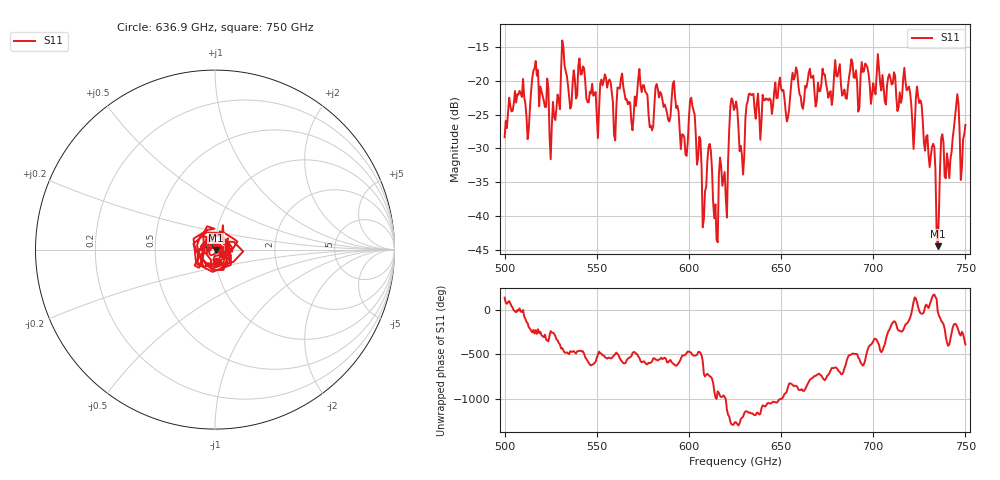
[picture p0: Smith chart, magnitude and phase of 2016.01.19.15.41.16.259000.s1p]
!Created with skrf (http://scikit-rf.org).
# GHz S RI R 50.0
!freq ReS11 ImS11
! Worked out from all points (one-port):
!   401 points, 500 GHz to 750 GHz, reference 50 ohm
!   lowest |S11| = -44.5 dB at 735 GHz (marker M1), VSWR 1.01, Z = 50.6 - j0.173 ohm
!   |S11| at or under -10 dB: start of sweep to end of sweep
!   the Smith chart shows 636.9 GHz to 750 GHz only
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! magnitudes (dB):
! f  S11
! 500 GHz  -28.4
! 508.8 GHz  -21.9
! 512.5 GHz  -28.6
! 516.9 GHz  -17.1
! 525.6 GHz  -26.6
! 531.2 GHz  -14.0
! 555.6 GHz  -21.0
! 559.4 GHz  -28.0
! 562.5 GHz  -21.2
! 593.8 GHz  -23.7
! 598.1 GHz  -30.9
! 601.9 GHz  -23.7
! 608.1 GHz  -40.4
! 611.2 GHz  -29.3
! 614.4 GHz  -38.3
! 625 GHz  -23.9
! 628.8 GHz  -31.0
! 633.1 GHz  -21.9
! 656.2 GHz  -18.8
! 687.5 GHz  -18.4
! 718.8 GHz  -21.2
! 725 GHz  -23.3
! 735 GHz  -44.5
! 737.5 GHz  -27.9
! 740.6 GHz  -32.1
! 745 GHz  -23.5
! 748.1 GHz  -32.9
! 750 GHz  -26.5
